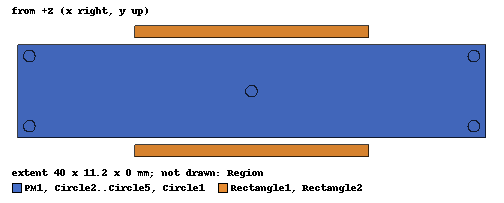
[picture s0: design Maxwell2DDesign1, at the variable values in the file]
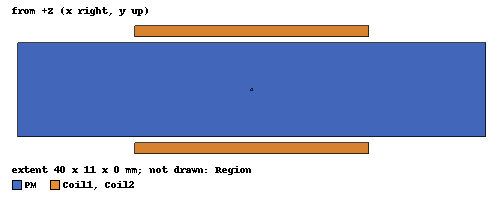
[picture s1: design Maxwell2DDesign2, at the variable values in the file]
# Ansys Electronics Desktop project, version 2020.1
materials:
  vacuum: permittivity=1
  XG196/96: permeability{HUnit=A_per_meter BUnit=tesla curve (-880000, -1.91134497) (-860000, -1.358424663) (-840000, -0.855769839) (-820000, -0.554176944) (-800000, -0.378247755) (-780000, -0.26515042) (-760000, -0.177185826) (-740000, -0.114353973) (-720000, -0.06408849) (-690000, 0) (-663114, 0.0487979) (-635338, 0.0975957) (-606628, 0.146394) (-576936, 0.195191) (-546211, 0.243989) (-514397, 0.292787) (-481437, 0.341585) (-447266, 0.390383) (-411817, 0.439181) (-375016, 0.487979) (-333348, 0.541105) (-291679, 0.593468) (-250011, 0.64583) (-208342, 0.698192) (-166674, 0.750554) (-125005, 0.802916) (-83337, 0.855278) (-41668.5, 0.907641) (0, 0.96)} magnetic_coercivity{Magnitude=-689230.11A_per_meter DirComp1=1 DirComp2=0 DirComp3=0}
  copper: permeability=0.999991 conductivity=58000000

design Maxwell2DDesign1 (Maxwell 2D, Magnetostatic, XY geometry, model units mm)
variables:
  I = 40kA
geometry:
  PM1 [XG196/96] = rectangle(corner=(-20mm, -4mm, 0mm), x_size=40mm, y_size=8mm)
  Region [vacuum] = region(percentage_offset: +X=100, -X=100, +Y=200, -Y=200, +Z=0, -Z=0)
  Circle1 [XG196/96] = circle(normal=Z, centre=(0mm, 0mm, 0mm), radius=0.5mm)
  Circle2 [XG196/96] = circle(normal=Z, centre=(-19mm, 3mm, 0mm), radius=0.5mm)
  Circle3 [XG196/96] = circle(normal=Z, centre=(-19mm, -3mm, 0mm), radius=0.5mm)
  Circle4 [XG196/96] = circle(normal=Z, centre=(19mm, 3mm, 0mm), radius=0.5mm)
  Circle5 [XG196/96] = circle(normal=Z, centre=(19mm, -3mm, 0mm), radius=0.5mm)
  Rectangle1 [copper] = rectangle(corner=(-10mm, 4.6mm, 0mm), x_size=20mm, y_size=1mm)
  Rectangle2 [copper] = rectangle(corner=(-10mm, -5.6mm, 0mm), x_size=20mm, y_size=1mm)
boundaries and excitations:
  Balloon1: Balloon Edges=Region.edge(all 4)
  Current1: Current Objects=Rectangle1 Current=I IsPositive=false
  Current2: Current Objects=Rectangle2 Current=I IsPositive=true
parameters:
  Matrix1: Matrix Current1, Current2: NumberOfTurns=1000; group Group1 = Current1, Current2 (1 parallel)
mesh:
  initial mesh: MeshMethod=AnsoftTAU
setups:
  Setup1: Magnetostatic MaximumPasses=10 MinimumPasses=2 MinimumConvergedPasses=1 PercentRefinement=30 PercentError=1 NonLinearResidual=0.0001
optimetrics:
  ParametricSetup1: Parametric Sim._Setups=[Setup1]
    sweep I: LIN -20kA 80kA 5kA
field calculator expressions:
  Surface_detection_circle1 = 1 | EnterSurface(Circle1) | SurfaceValue | Integrate
  B_1 = Fundamental_Quantity(22) | ScalarX | EnterSurface(Circle1) | SurfaceValue | Integrate | Surface_detection_circle1 | /
  H_1 = Fundamental_Quantity(21) | ScalarX | EnterSurface(Circle1) | SurfaceValue | Integrate | Surface_detection_circle1 | /
  Surface_detection_circle2 = 1 | EnterSurface(Circle2) | SurfaceValue | Integrate
  B_2 = Fundamental_Quantity(22) | ScalarX | EnterSurface(Circle2) | SurfaceValue | Integrate | Surface_detection_circle2 | /
  H_2 = Fundamental_Quantity(21) | ScalarX | EnterSurface(Circle2) | SurfaceValue | Integrate | Surface_detection_circle2 | /
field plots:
  Mag_B1, B_Vector1: B over Circle1..Circle5, PM1, Region, Rectangle1, Rectangle2 on Setup1 : LastAdaptive
  Demag_Coef1: Demag-Coef over Circle1..Circle5, PM1 on Setup1 : LastAdaptive
  Mag_H1: H over Circle1..Circle5, PM1 on Setup1 : LastAdaptive
  H_Vector1: H over PM1, Circle1..Circle5 on Setup1 : LastAdaptive
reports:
  recoil_curve: Y Component 1 vs Primary Sweep; B_1 vs H_1; B_2 vs H_2

design Maxwell2DDesign2 (Maxwell 2D, Transient, XY geometry, model units mm)
options: ModelDepth=1meter
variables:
  I_coil = 1A*pwl(ds1,time/1ms)
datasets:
  ds1: (0, 0) (1, 8) (2, 0) (3, 14) (4, 0) (5, 20) (6, 0) (7, 26) (8, 0) (9, 32) (10, 0)
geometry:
  PM [XG196/96] = rectangle(corner=(-20mm, -4mm, 0mm), x_size=40mm, y_size=8mm)
  Circle1 [XG196/96] = circle(normal=Z, centre=(0mm, 0mm, 0mm), radius=0.1mm)
  Coil1 [copper] = rectangle(corner=(-10mm, 4.5mm, 0mm), x_size=20mm, y_size=1mm)
  Coil2 [copper] = rectangle(corner=(-10mm, -5.5mm, 0mm), x_size=20mm, y_size=1mm)
  Region [vacuum] = rectangle(corner=(-50mm, -40mm, 0mm), x_size=100mm, y_size=80mm)
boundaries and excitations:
  VectorPotential1: Vector Potential Edges=Region.edge(all 4) Value=0
  Coil1: Coil Objects=Coil1 Conductor_number=1000 Winding=Winding1 PolarityType=Negative
  Coil2: Coil Objects=Coil2 Conductor_number=1000 Winding=Winding1 PolarityType=Positive
  Winding1: Winding Group Type=Current IsSolid=false Current=I_coil ParallelBranchesNum=1
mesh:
  initial mesh: MeshMethod=AnsoftTAU
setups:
  Setup1: Transient NonlinearSolverResidual=0.0001 StopTime=10ms TimeStep=1ms SaveFieldsType=Custom SweepRanges{0ms to 10ms step 1ms} NumberSolveSteps=1 RangeStart=0s RangeEnd=0.1s InitialTimeStep=0.002s MinTimeStep=0.001s MaxTimeStep=0.003s TimeStepErrTolerance=0.0001
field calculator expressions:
  Surface_detection_circle1 = 1 | EnterSurface(Circle1) | SurfaceValue | Integrate
  B_1 = Fundamental_Quantity(22) | ScalarX | EnterSurface(Circle1) | SurfaceValue | Integrate | Surface_detection_circle1 | /
  H_1 = Fundamental_Quantity(21) | ScalarX | EnterSurface(Circle1) | SurfaceValue | Integrate | Surface_detection_circle1 | /
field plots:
  Mag_H1: H over PM, Coil1, Coil2, Region, Circle1 on Setup1 : Transient at Time=-1
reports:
  Calculator Expressions Plot 1: Y Component 1 vs Primary Sweep; B_1 vs H_1
